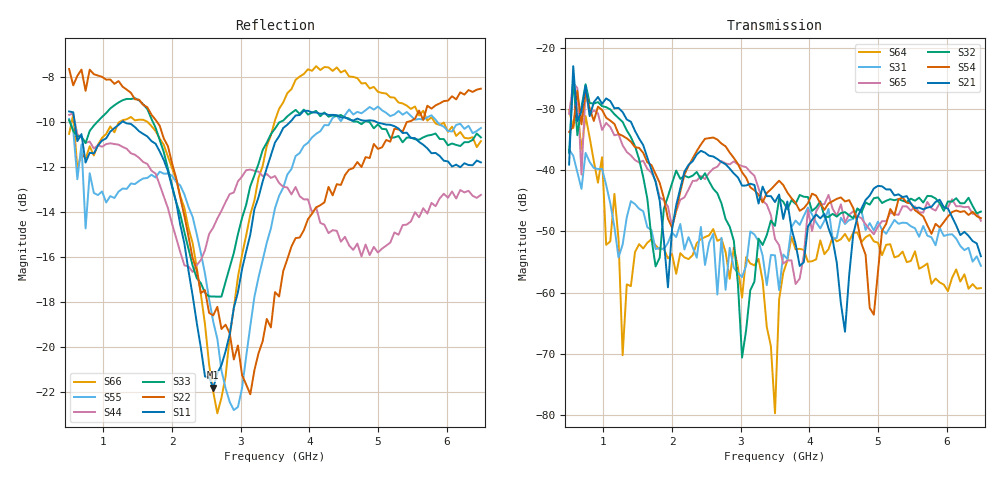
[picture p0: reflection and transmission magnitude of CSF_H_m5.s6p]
!Keysight Technologies,M9804A,MY58100912,A.14.10.03
!Date: Thursday, April 27, 2023 10:28:33
!Correction: S11(C  6-Port  )
!S12(C  6-Port  )
!S13(C  6-Port  )
!S14(C  6-Port  )
!S15(C  6-Port  )
!S16(C  6-Port  )
!S21(C  6-Port  )
!S22(C  6-Port  )
!S23(C  6-Port  )
!S24(C  6-Port  )
!S25(C  6-Port  )
!S26(C  6-Port  )
!S31(C  6-Port  )
!S32(C  6-Port  )
!S33(C  6-Port  )
!S34(C  6-Port  )
!S35(C  6-Port  )
!S36(C  6-Port  )
!S41(C  6-Port  )
!S42(C  6-Port  )
!S43(C  6-Port  )
!S44(C  6-Port  )
!S45(C  6-Port  )
!S46(C  6-Port  )
!S51(C  6-Port  )
!S52(C  6-Port  )
!S53(C  6-Port  )
!S54(C  6-Port  )
!S55(C  6-Port  )
!S56(C  6-Port  )
!S61(C  6-Port  )
!S62(C  6-Port  )
!S63(C  6-Port  )
!S64(C  6-Port  )
!S65(C  6-Port  )
!S66(C  6-Port  )
!S6P File: Measurement: :
# Hz S  RI  R 50
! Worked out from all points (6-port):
!   101 points, 500 MHz to 6.5 GHz, reference 50 ohm
!   strongest paths, dB at 500 MHz, 2 GHz, 3.5 GHz, 5 GHz, 6.5 GHz:
!     S21: -39.1, -49.6, -45.2, -42.6, -54.1
!     S54: -33.7, -49.4, -42.4, -56.6, -47.8
!     S32: -37.1, -42.1, -49.1, -44.4, -46.8
!     S65: -30.8, -49.2, -51.2, -49.2, -48.3
!     S31: -36.6, -50.2, -53.9, -48.4, -55.6
!     S64: -30.1, -53.7, -79.7, -51.9, -59.3
!   lowest |S11| = -21.8 dB at 2.6 GHz (marker M1), VSWR 1.18, Z = 42.7 + j1.92 ohm
!   |S11| at or under -10 dB: 580.3 MHz to 1.268 GHz (688 MHz wide, 74.4 % of centre); 1.3 GHz to 3.719 GHz (2.418 GHz wide, 96.4 % of centre); 4.98 GHz to end of sweep
